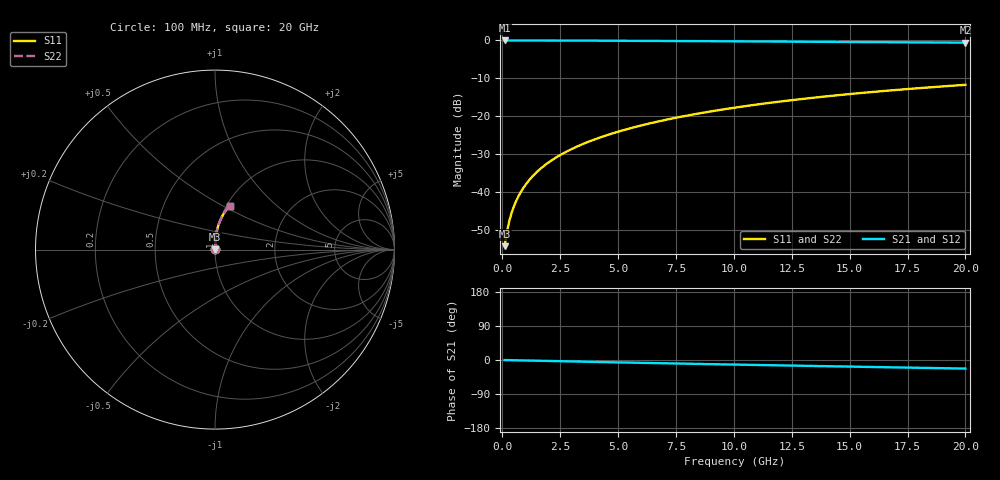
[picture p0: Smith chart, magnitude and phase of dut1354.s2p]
! Touchstone file exported from HFSS 2024.1.0
!  File:  C:/UserFiles/LocalFiles/RDL_TSV_Batchsim/temp_RDL_bottom_1354_1780370418.aedt
!  Generated:  11:23:11 AM Jun  2, 2026
!  Design:  RDL_bottom
!  Project:  temp_RDL_bottom_1354_1780370418
!  Setup:  Setup1
!  Solution:  Sweep
! Variables:
!  dtsv = 10.80580581um
!  hbump = 3um
!  htsv = 82.34um
!  ldown = 266.58um
!  lrdl = 100um
!  p = 40
!  p1 = 55.74um
!  rhole = 1um
!  t = 450um
!  tdown = 3.85um
!  trdl = 3.915915916um
!  wdown = 20.09um
!  wrdl = 20um
# GHz S MA R 50.000000
! Terminal data exported
! Port[1] = RDL1_T1
! Port[2] = RDL1_T2
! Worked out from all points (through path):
!   200 points, 100 MHz to 20 GHz, reference 50 ohm
!   highest |S21| = -0.01 dB at 100 MHz (marker M1); lowest = -0.6 dB at 20 GHz (marker M2)
!   group delay of S21, straight-line fit = 3.12 ps
!   lowest |S11| = -54.4 dB at 100 MHz (marker M3), VSWR 1.00, Z = 50.1 + j0.129 ohm
!   |S11| at or under -10 dB: start of sweep to end of sweep
!   |S22| runs from -54.4 to -11.7 dB; largest |S21 - S12| = 2.1e-15
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0.1  0.001905 42.5  0.9986 -0.1  0.9986 -0.1  0.001905 42.5
! Gamma 0 0 0 0
! Port Impedance 50 0 50 0
0.2  0.002934 60.2  0.9985 -0.3  0.9985 -0.3  0.002934 60.2
0.3  0.004068 68.1  0.9985 -0.4  0.9985 -0.4  0.004068 68.1
0.4  0.005225 72.6  0.9984 -0.5  0.9984 -0.5  0.005225 72.6
0.5  0.00639 75.5  0.9983 -0.7  0.9983 -0.7  0.00639 75.5
0.6  0.007561 77.5  0.9982 -0.8  0.9982 -0.8  0.007561 77.5
0.8  0.009921 80.3  0.9981 -1.0  0.9981 -1.0  0.009921 80.3
1.1  0.01349 82.6  0.9978 -1.4  0.9978 -1.4  0.01349 82.6
1.5  0.01831 84.4  0.9974 -1.9  0.9974 -1.9  0.01831 84.4
1.8  0.02194 85.1  0.997 -2.3  0.997 -2.3  0.02194 85.1
2.1  0.0256 85.7  0.9966 -2.7  0.9966 -2.7  0.0256 85.7
2.7  0.03297 86.3  0.9955 -3.5  0.9955 -3.5  0.03297 86.3
3.5  0.04295 86.6  0.9937 -4.5  0.9937 -4.5  0.04295 86.6
4.2  0.0518 86.6  0.9919 -5.3  0.9919 -5.3  0.0518 86.6
5  0.06207 86.5  0.9896 -6.3  0.9896 -6.3  0.06207 86.4
5.9  0.07379 86.0  0.9868 -7.4  0.9868 -7.4  0.07379 86.0
6.8  0.08567 85.5  0.9839 -8.5  0.9839 -8.5  0.08567 85.5
8.4  0.1071 84.2  0.9784 -10.3  0.9784 -10.3  0.1071 84.2
10.1  0.13 82.6  0.9723 -12.2  0.9723 -12.2  0.13 82.6
13.4  0.1743 79.0  0.9601 -15.8  0.9601 -15.8  0.1743 79.0
16.7  0.2174 75.4  0.9473 -19.2  0.9473 -19.2  0.2174 75.3
20  0.2587 71.7  0.9339 -22.6  0.9339 -22.6  0.2587 71.7
